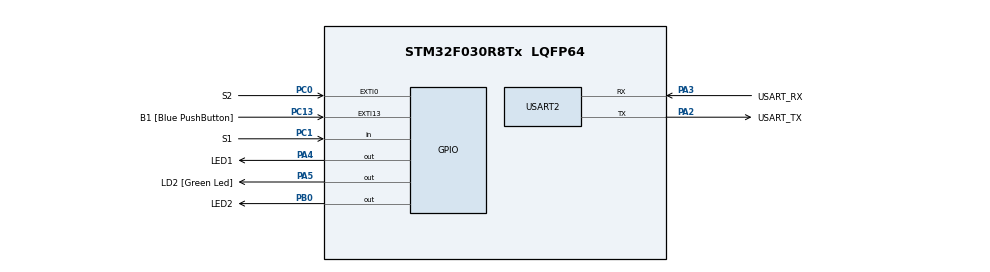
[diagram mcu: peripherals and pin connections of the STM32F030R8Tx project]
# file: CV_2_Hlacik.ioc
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Mcu.Family=STM32F0
Mcu.Name=STM32F030R8Tx
Mcu.Package=LQFP64
NVIC.EXTI0_1_IRQn=true\:0\:0\:false\:false\:true\:true\:true\:true
PA13.GPIO_Label=TMS
PA13.Mode=Serial_Wire
PA13.Signal=SYS_SWDIO
PA14.GPIO_Label=TCK
PA14.Mode=Serial_Wire
PA14.Signal=SYS_SWCLK
PA2.GPIO_Label=USART_TX
PA2.GPIO_Mode=GPIO_MODE_AF_PP
PA2.GPIO_PuPd=GPIO_NOPULL
PA2.GPIO_Speed=GPIO_SPEED_FREQ_LOW
PA2.Mode=Asynchronous
PA2.Signal=USART2_TX
PA3.GPIO_Label=USART_RX
PA3.GPIO_Mode=GPIO_MODE_AF_PP
PA3.GPIO_PuPd=GPIO_NOPULL
PA3.GPIO_Speed=GPIO_SPEED_FREQ_LOW
PA3.Mode=Asynchronous
PA3.Signal=USART2_RX
PA4.GPIO_Label=LED1
PA4.Signal=GPIO_Output
PA5.GPIO_Label=LD2 [Green Led]
PA5.GPIO_Mode=GPIO_MODE_OUTPUT_PP
PA5.GPIO_PuPd=GPIO_NOPULL
PA5.GPIO_Speed=GPIO_SPEED_FREQ_LOW
PA5.Signal=GPIO_Output
PB0.GPIO_Label=LED2
PB0.Signal=GPIO_Output
PC0.GPIO_Label=S2
PC0.GPIO_PuPd=GPIO_PULLUP
PC0.Signal=GPXTI0
PC1.GPIO_Label=S1
PC1.GPIO_PuPd=GPIO_PULLUP
PC1.Signal=GPIO_Input
PC13.GPIO_Label=B1 [Blue PushButton]
PC13.GPIO_ModeDefaultEXTI=GPIO_MODE_IT_FALLING
PC13.Signal=GPXTI13
PC14-OSC32_IN.Mode=LSE-External-Oscillator
PC14-OSC32_IN.Signal=RCC_OSC32_IN
PC15-OSC32_OUT.Mode=LSE-External-Oscillator
PC15-OSC32_OUT.Signal=RCC_OSC32_OUT
PF0-OSC_IN.Mode=HSE-External-Clock-Source
PF0-OSC_IN.Signal=RCC_OSC_IN
PF1-OSC_OUT.Signal=RCC_OSC_OUT
ProjectManager.HeapSize=0x200
ProjectManager.StackSize=0x400
ProjectManager.TargetToolchain=STM32CubeIDE
RCC.AHBFreq_Value=48000000
RCC.APB1Freq_Value=48000000
RCC.APB1TimFreq_Value=48000000
RCC.HCLKFreq_Value=48000000
RCC.PLLMUL=RCC_PLL_MUL12
RCC.SYSCLKFreq_VALUE=48000000
RCC.SYSCLKSource=RCC_SYSCLKSOURCE_PLLCLK
USART2.VirtualMode-Asynchronous=VM_ASYNC
board=NUCLEO-F030R8

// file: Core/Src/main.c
/* USER CODE BEGIN Header */
/**
  ******************************************************************************
  * @file           : main.c
  * @brief          : Main program body
  ******************************************************************************
  * @attention
  *
  * Copyright (c) 2023 STMicroelectronics.
  * All rights reserved.
  *
  * This software is licensed under terms that can be found in the LICENSE file
  * in the root directory of this software component.
  * If no LICENSE file comes with this software, it is provided AS-IS.
  *
  ******************************************************************************
  */
/* USER CODE END Header */
#include "main.h"

/* USER CODE BEGIN PD */
#define LED_TIME_BLINK	300
#define LED_TIME_SHORT	100
#define LED_TIME_LONG	1000

#define BTN_TIME		40
#define DEBOUNCE_MS		5
/* USER CODE END PD */

void SystemClock_Config(void);
static void MX_GPIO_Init(void);
static void MX_USART2_UART_Init(void);

/* USER CODE BEGIN 0 */
void blikac() {
	static uint32_t DelayCnt = 0;

	if (Tick > (DelayCnt + LED_TIME_BLINK)) {
		LL_GPIO_TogglePin(LED1_GPIO_Port, LED1_Pin);
		DelayCnt = Tick;
	}
}

void tlacitka() {
	static uint32_t old_s2;
	uint32_t new_s2 = LL_GPIO_IsInputPinSet(S2_GPIO_Port, S2_Pin);
	uint32_t new_s1 = LL_GPIO_IsInputPinSet(S1_GPIO_Port, S1_Pin);
	static uint32_t off_time, old_time, debounce_time;

	static uint16_t debounce = 0xFFFF;

	if (Tick > off_time) {
		LL_GPIO_ResetOutputPin(LED2_GPIO_Port, LED2_Pin);
	}

	if (Tick > old_time + BTN_TIME) {
		old_time = Tick;

		if (old_s2 && !new_s2) {
			off_time = Tick + LED_TIME_SHORT;
			LL_GPIO_SetOutputPin(LED2_GPIO_Port, LED2_Pin);
		}
		old_s2 = new_s2;
	}

	if (Tick > debounce_time + DEBOUNCE_MS) {
		debounce_time = Tick;

		debounce <<= 1;
		if (new_s1) debounce |= 0x0001;

		if (debounce == 0x7FFF) {
			off_time = Tick + LED_TIME_LONG;
			LL_GPIO_SetOutputPin(LED2_GPIO_Port, LED2_Pin);
		}
	}
}
/* USER CODE END 0 */

int main(void)
{

  /* MCU Configuration--------------------------------------------------------*/

  /* Reset of all peripherals, Initializes the Flash interface and the Systick. */
  LL_APB1_GRP2_EnableClock(LL_APB1_GRP2_PERIPH_SYSCFG);
  LL_APB1_GRP1_EnableClock(LL_APB1_GRP1_PERIPH_PWR);

  /* Configure the system clock */
  SystemClock_Config();

  /* Initialize all configured peripherals */
  MX_GPIO_Init();
  MX_USART2_UART_Init();
  /* USER CODE BEGIN 2 */
  LL_SYSTICK_EnableIT();

  /* USER CODE END 2 */

  /* Infinite loop */
  while (1)
  {
	  blikac();
	  tlacitka();
  }
}

void SystemClock_Config(void)
{
  LL_FLASH_SetLatency(LL_FLASH_LATENCY_1);
  while(LL_FLASH_GetLatency() != LL_FLASH_LATENCY_1)
  {
  }
  LL_RCC_HSI_Enable();

   /* Wait till HSI is ready */
  while(LL_RCC_HSI_IsReady() != 1)
  {

  }
  LL_RCC_HSI_SetCalibTrimming(16);
  LL_RCC_PLL_ConfigDomain_SYS(LL_RCC_PLLSOURCE_HSI_DIV_2, LL_RCC_PLL_MUL_12);
  LL_RCC_PLL_Enable();

   /* Wait till PLL is ready */
  while(LL_RCC_PLL_IsReady() != 1)
  {

  }
  LL_RCC_SetAHBPrescaler(LL_RCC_SYSCLK_DIV_1);
  LL_RCC_SetAPB1Prescaler(LL_RCC_APB1_DIV_1);
  LL_RCC_SetSysClkSource(LL_RCC_SYS_CLKSOURCE_PLL);

   /* Wait till System clock is ready */
  while(LL_RCC_GetSysClkSource() != LL_RCC_SYS_CLKSOURCE_STATUS_PLL)
  {

  }
  LL_Init1msTick(48000000);
  LL_SetSystemCoreClock(48000000);
}

static void MX_USART2_UART_Init(void)
{

  LL_USART_InitTypeDef USART_InitStruct = {0};

  LL_GPIO_InitTypeDef GPIO_InitStruct = {0};

  /* Peripheral clock enable */
  LL_APB1_GRP1_EnableClock(LL_APB1_GRP1_PERIPH_USART2);

  LL_AHB1_GRP1_EnableClock(LL_AHB1_GRP1_PERIPH_GPIOA);
  /**USART2 GPIO Configuration
  PA2   ------> USART2_TX
  PA3   ------> USART2_RX
  */
  GPIO_InitStruct.Pin = USART_TX_Pin;
  GPIO_InitStruct.Mode = LL_GPIO_MODE_ALTERNATE;
  GPIO_InitStruct.Speed = LL_GPIO_SPEED_FREQ_LOW;
  GPIO_InitStruct.OutputType = LL_GPIO_OUTPUT_PUSHPULL;
  GPIO_InitStruct.Pull = LL_GPIO_PULL_NO;
  GPIO_InitStruct.Alternate = LL_GPIO_AF_1;
  LL_GPIO_Init(USART_TX_GPIO_Port, &GPIO_InitStruct);

  GPIO_InitStruct.Pin = USART_RX_Pin;
  GPIO_InitStruct.Mode = LL_GPIO_MODE_ALTERNATE;
  GPIO_InitStruct.Speed = LL_GPIO_SPEED_FREQ_LOW;
  GPIO_InitStruct.OutputType = LL_GPIO_OUTPUT_PUSHPULL;
  GPIO_InitStruct.Pull = LL_GPIO_PULL_NO;
  GPIO_InitStruct.Alternate = LL_GPIO_AF_1;
  LL_GPIO_Init(USART_RX_GPIO_Port, &GPIO_InitStruct);

  USART_InitStruct.BaudRate = 38400;
  USART_InitStruct.DataWidth = LL_USART_DATAWIDTH_8B;
  USART_InitStruct.StopBits = LL_USART_STOPBITS_1;
  USART_InitStruct.Parity = LL_USART_PARITY_NONE;
  USART_InitStruct.TransferDirection = LL_USART_DIRECTION_TX_RX;
  USART_InitStruct.HardwareFlowControl = LL_USART_HWCONTROL_NONE;
  USART_InitStruct.OverSampling = LL_USART_OVERSAMPLING_16;
  LL_USART_Init(USART2, &USART_InitStruct);
  LL_USART_DisableIT_CTS(USART2);
  LL_USART_ConfigAsyncMode(USART2);
  LL_USART_Enable(USART2);

}

static void MX_GPIO_Init(void)
{
  LL_EXTI_InitTypeDef EXTI_InitStruct = {0};
  LL_GPIO_InitTypeDef GPIO_InitStruct = {0};

  /* GPIO Ports Clock Enable */
  LL_AHB1_GRP1_EnableClock(LL_AHB1_GRP1_PERIPH_GPIOC);
  LL_AHB1_GRP1_EnableClock(LL_AHB1_GRP1_PERIPH_GPIOF);
  LL_AHB1_GRP1_EnableClock(LL_AHB1_GRP1_PERIPH_GPIOA);
  LL_AHB1_GRP1_EnableClock(LL_AHB1_GRP1_PERIPH_GPIOB);

  /**/
  LL_GPIO_ResetOutputPin(LED1_GPIO_Port, LED1_Pin);

  /**/
  LL_GPIO_ResetOutputPin(LD2_GPIO_Port, LD2_Pin);

  /**/
  LL_GPIO_ResetOutputPin(LED2_GPIO_Port, LED2_Pin);

  /**/
  LL_SYSCFG_SetEXTISource(LL_SYSCFG_EXTI_PORTC, LL_SYSCFG_EXTI_LINE13);

  /**/
  LL_SYSCFG_SetEXTISource(LL_SYSCFG_EXTI_PORTC, LL_SYSCFG_EXTI_LINE0);

  /**/
  LL_GPIO_SetPinPull(B1_GPIO_Port, B1_Pin, LL_GPIO_PULL_NO);

  /**/
  LL_GPIO_SetPinMode(B1_GPIO_Port, B1_Pin, LL_GPIO_MODE_INPUT);

  /**/
  EXTI_InitStruct.Line_0_31 = LL_EXTI_LINE_13;
  EXTI_InitStruct.LineCommand = ENABLE;
  EXTI_InitStruct.Mode = LL_EXTI_MODE_IT;
  EXTI_InitStruct.Trigger = LL_EXTI_TRIGGER_FALLING;
  LL_EXTI_Init(&EXTI_InitStruct);

  /**/
  GPIO_InitStruct.Pin = S1_Pin;
  GPIO_InitStruct.Mode = LL_GPIO_MODE_INPUT;
  GPIO_InitStruct.Pull = LL_GPIO_PULL_UP;
  LL_GPIO_Init(S1_GPIO_Port, &GPIO_InitStruct);

  /**/
  GPIO_InitStruct.Pin = S2_Pin;
  GPIO_InitStruct.Mode = LL_GPIO_MODE_INPUT;
  GPIO_InitStruct.Pull = LL_GPIO_PULL_UP;
  LL_GPIO_Init(S2_GPIO_Port, &GPIO_InitStruct);

  /**/
  GPIO_InitStruct.Pin = LED1_Pin;
  GPIO_InitStruct.Mode = LL_GPIO_MODE_OUTPUT;
  GPIO_InitStruct.Speed = LL_GPIO_SPEED_FREQ_LOW;
  GPIO_InitStruct.OutputType = LL_GPIO_OUTPUT_PUSHPULL;
  GPIO_InitStruct.Pull = LL_GPIO_PULL_NO;
  LL_GPIO_Init(LED1_GPIO_Port, &GPIO_InitStruct);

  /**/
  GPIO_InitStruct.Pin = LD2_Pin;
  GPIO_InitStruct.Mode = LL_GPIO_MODE_OUTPUT;
  GPIO_InitStruct.Speed = LL_GPIO_SPEED_FREQ_LOW;
  GPIO_InitStruct.OutputType = LL_GPIO_OUTPUT_PUSHPULL;
  GPIO_InitStruct.Pull = LL_GPIO_PULL_NO;
  LL_GPIO_Init(LD2_GPIO_Port, &GPIO_InitStruct);

  /**/
  GPIO_InitStruct.Pin = LED2_Pin;
  GPIO_InitStruct.Mode = LL_GPIO_MODE_OUTPUT;
  GPIO_InitStruct.Speed = LL_GPIO_SPEED_FREQ_LOW;
  GPIO_InitStruct.OutputType = LL_GPIO_OUTPUT_PUSHPULL;
  GPIO_InitStruct.Pull = LL_GPIO_PULL_NO;
  LL_GPIO_Init(LED2_GPIO_Port, &GPIO_InitStruct);

  /* EXTI interrupt init*/

}

void Error_Handler(void)
{
  __disable_irq();
  while (1)
  {
  }
}
